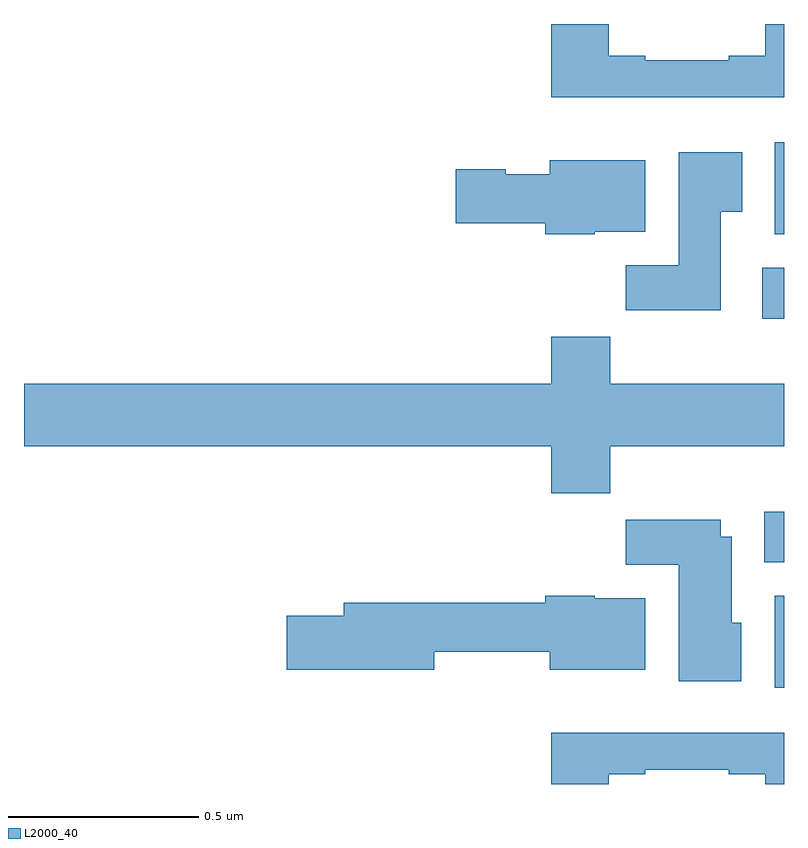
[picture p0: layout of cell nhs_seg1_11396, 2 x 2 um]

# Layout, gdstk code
import gdstk
lib = gdstk.Library(unit=1e-6, precision=1e-09)
def R(c, l, rs):  # rectangles x0, y0, x1, y1
    for r in rs: c.add(gdstk.rectangle(r[:2], r[2:], *l))
def P(c, l, *ps):  # polygons
    for p in ps: c.add(gdstk.Polygon(p, *l))
L2000_40 = (2000, 40)

nhs_seg1_11396 = lib.new_cell('nhs_seg1_11396')
R(nhs_seg1_11396, L2000_40, [(254.975,528.452,255,528.694), (254.948,528.782,255,528.916), (254.943,529.424,255,529.558), (254.975,529.646,255,529.888)])
P(nhs_seg1_11396, L2000_40, [(255,530.199),(254.951,530.199),(254.951,530.116),(254.855,530.116),(254.855,530.103),(254.635,530.103),(254.635,530.116),(254.539,530.116),(254.539,530.199),(254.387,530.199),(254.387,530.006),(255,530.006)],
  [(254.833,529.705),(254.89,529.705),(254.89,529.861),(254.723,529.861),(254.723,529.564),(254.584,529.564),(254.584,529.446),(254.833,529.446)],
  [(254.502,529.652),(254.635,529.652),(254.635,529.84),(254.384,529.84),(254.384,529.804),(254.268,529.804),(254.268,529.817),(254.136,529.817),(254.136,529.675),(254.372,529.675),(254.372,529.646),(254.502,529.646)],
  [(254.543,529.088),(255,529.088),(255,529.252),(254.543,529.252),(254.543,529.376),(254.387,529.376),(254.387,529.252),(253,529.252),(253,529.088),(254.387,529.088),(254.387,528.964),(254.543,528.964)],
  [(254.887,528.624),(254.863,528.624),(254.863,528.85),(254.833,528.85),(254.833,528.895),(254.584,528.895),(254.584,528.776),(254.723,528.776),(254.723,528.47),(254.887,528.47)],
  [(254.08,528.547),(254.384,528.547),(254.384,528.5),(254.635,528.5),(254.635,528.688),(254.502,528.688),(254.502,528.694),(254.372,528.694),(254.372,528.676),(253.841,528.676),(253.841,528.642),(253.692,528.642),(253.692,528.5),(254.08,528.5)],
  [(254.539,528.225),(254.635,528.225),(254.635,528.237),(254.855,528.237),(254.855,528.225),(254.951,528.225),(254.951,528.199),(255,528.199),(255,528.334),(254.387,528.334),(254.387,528.199),(254.539,528.199)])

lib.write_gds('nhs_seg1_11396.gds')
